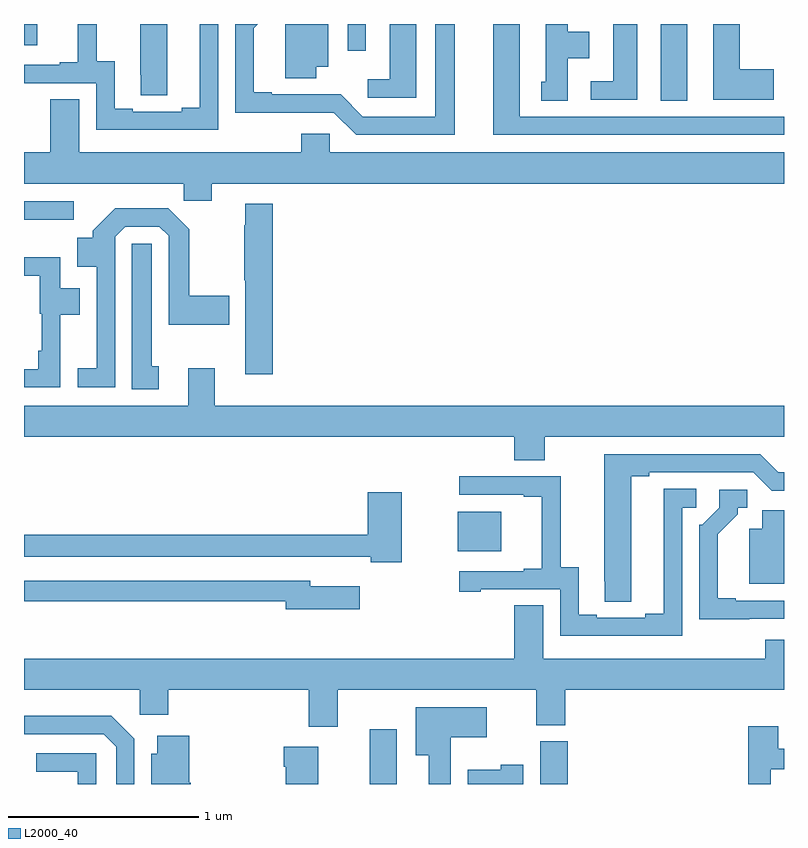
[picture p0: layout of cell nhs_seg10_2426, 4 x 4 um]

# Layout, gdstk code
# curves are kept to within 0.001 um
import gdstk
lib = gdstk.Library(unit=1e-6, precision=1e-09)
def R(c, l, rs):  # rectangles x0, y0, x1, y1
    for r in rs: c.add(gdstk.rectangle(r[:2], r[2:], *l))
def P(c, l, *ps):  # polygons
    for p in ps: c.add(gdstk.Polygon(p, *l))
L2000_40 = (2000, 40)

nhs_seg10_2426 = lib.new_cell('nhs_seg10_2426')
R(nhs_seg10_2426, L2000_40, [(242.819,1286.5,242.962,1286.788), (243.716,1286.5,243.863,1286.724), (243.284,1287.725,243.511,1287.934), (241,1289.471,241.261,1289.568), (244.352,1290.097,244.492,1290.5), (242.703,1290.36,242.799,1290.5), (241,1290.389,241.069,1290.5)])
P(nhs_seg10_2426, L2000_40, [(242.022,1290.5),(241.925,1290.5),(241.925,1290.059),(241.829,1290.059),(241.829,1290.039),(241.573,1290.039),(241.573,1290.054),(241.477,1290.054),(241.477,1290.305),(241.383,1290.305),(241.383,1290.5),(241.283,1290.5),(241.283,1290.298),(241.187,1290.298),(241.187,1290.285),(241,1290.285),(241,1290.189),(241.38,1290.189),(241.38,1289.943),(242.022,1289.943)],
  [(242.539,1290.275),(242.602,1290.275),(242.602,1290.5),(242.375,1290.5),(242.375,1290.214),(242.539,1290.214)],
  [(245,1290.012),(243.61,1290.012),(243.61,1290.5),(243.47,1290.5),(243.47,1289.916),(245,1289.916)],
  [(244.228,1290.5),(244.1,1290.5),(244.1,1290.198),(243.984,1290.198),(243.984,1290.102),(244.228,1290.102)],
  [(243.268,1290.5),(243.164,1290.5),(243.164,1290.012),(242.784,1290.012),(242.666,1290.13),(242.305,1290.129),(242.305,1290.142),(242.209,1290.142),(242.209,1290.478),(242.231,1290.5),(242.112,1290.5),(242.112,1290.032),(242.631,1290.033),(242.748,1289.916),(243.268,1289.916)],
  [(241.753,1290.5),(241.613,1290.5),(241.613,1290.232),(241.614,1290.232),(241.614,1290.124),(241.753,1290.124)],
  [(243.862,1290.32),(243.976,1290.32),(243.976,1290.46),(243.862,1290.46),(243.862,1290.5),(243.746,1290.5),(243.746,1290.195),(243.722,1290.195),(243.722,1290.097),(243.862,1290.097)],
  [(244.945,1290.261),(244.768,1290.261),(244.768,1290.5),(244.628,1290.5),(244.628,1290.101),(244.945,1290.101)],
  [(243.064,1290.5),(242.924,1290.5),(242.924,1290.208),(242.808,1290.208),(242.808,1290.111),(243.064,1290.111)],
  [(241.987,1289.66),(245,1289.66),(245,1289.824),(242.61,1289.824),(242.61,1289.922),(242.459,1289.922),(242.459,1289.824),(241.291,1289.824),(241.291,1290.104),(241.139,1290.104),(241.139,1289.824),(241,1289.824),(241,1289.66),(241.84,1289.66),(241.84,1289.57),(241.987,1289.57)],
  [(242.309,1289.554),(242.165,1289.554),(242.165,1289.441),(242.158,1289.441),(242.158,1289.152),(242.165,1289.152),(242.165,1288.656),(242.309,1288.656)],
  [(241.479,1289.379),(241.533,1289.433),(241.713,1289.433),(241.761,1289.385),(241.761,1288.916),(242.08,1288.916),(242.08,1289.069),(241.87,1289.069),(241.87,1289.42),(241.76,1289.53),(241.48,1289.53),(241.363,1289.413),(241.363,1289.374),(241.28,1289.374),(241.28,1289.222),(241.383,1289.222),(241.383,1288.688),(241.284,1288.688),(241.284,1288.587),(241.479,1288.587)],
  [(241.708,1288.698),(241.672,1288.698),(241.672,1289.343),(241.568,1289.343),(241.568,1288.578),(241.708,1288.578)],
  [(241.191,1288.97),(241.294,1288.97),(241.294,1289.11),(241.191,1289.11),(241.191,1289.273),(241,1289.273),(241,1289.174),(241.083,1289.174),(241.083,1288.974),(241.094,1288.974),(241.094,1288.78),(241.075,1288.78),(241.075,1288.684),(241,1288.684),(241,1288.587),(241.191,1288.587)],
  [(243.741,1288.328),(245,1288.328),(245,1288.492),(242.005,1288.492),(242.005,1288.687),(241.865,1288.687),(241.865,1288.492),(241,1288.492),(241,1288.328),(243.581,1288.328),(243.581,1288.204),(243.741,1288.204)],
  [(244.195,1288.12),(244.291,1288.12),(244.291,1288.14),(244.839,1288.14),(244.935,1288.044),(245,1288.044),(245,1288.14),(244.971,1288.14),(244.875,1288.236),(244.055,1288.236),(244.056,1287.46),(244.195,1287.46)],
  [(244.464,1287.954),(244.537,1287.954),(244.537,1288.055),(244.367,1288.055),(244.367,1287.395),(244.271,1287.395),(244.271,1287.375),(244.015,1287.375),(244.015,1287.39),(243.919,1287.39),(243.919,1287.641),(243.825,1287.641),(243.825,1288.119),(243.291,1288.119),(243.291,1288.023),(243.629,1288.023),(243.629,1288.011),(243.725,1288.011),(243.725,1287.634),(243.629,1287.634),(243.629,1287.621),(243.291,1287.621),(243.291,1287.513),(243.403,1287.513),(243.403,1287.525),(243.822,1287.525),(243.822,1287.279),(244.464,1287.279)],
  [(244.817,1287.369),(245,1287.369),(245,1287.465),(244.747,1287.465),(244.747,1287.478),(244.651,1287.478),(244.651,1287.814),(244.756,1287.919),(244.756,1287.954),(244.806,1287.954),(244.806,1288.05),(244.659,1288.05),(244.659,1287.954),(244.569,1287.864),(244.554,1287.864),(244.554,1287.368)],
  [(242.988,1288.036),(242.81,1288.036),(242.81,1287.812),(241,1287.812),(241,1287.696),(242.602,1287.696),(242.602,1287.695),(242.826,1287.695),(242.826,1287.668),(242.988,1287.668)],
  [(245,1287.942),(244.886,1287.942),(244.886,1287.844),(244.817,1287.844),(244.817,1287.554),(245,1287.554)],
  [(242.767,1287.541),(242.506,1287.541),(242.506,1287.57),(241,1287.57),(241,1287.462),(242.378,1287.462),(242.378,1287.419),(242.767,1287.419)],
  [(242.65,1286.996),(243.695,1286.996),(243.695,1286.809),(243.848,1286.809),(243.848,1286.996),(245,1286.996),(245,1287.258),(244.901,1287.258),(244.901,1287.16),(243.733,1287.16),(243.733,1287.44),(243.581,1287.44),(243.581,1287.16),(241,1287.16),(241,1286.996),(241.608,1286.996),(241.608,1286.865),(241.76,1286.865),(241.76,1286.996),(242.498,1286.996),(242.498,1286.802),(242.65,1286.802)],
  [(243.247,1286.747),(243.436,1286.747),(243.436,1286.905),(243.062,1286.905),(243.062,1286.651),(243.131,1286.651),(243.131,1286.5),(243.247,1286.5)],
  [(241.581,1286.739),(241.46,1286.86),(241,1286.86),(241,1286.763),(241.419,1286.763),(241.485,1286.697),(241.485,1286.5),(241.581,1286.5)],
  [(244.929,1286.577),(245,1286.577),(245,1286.686),(244.969,1286.686),(244.969,1286.803),(244.813,1286.803),(244.813,1286.5),(244.929,1286.5)],
  [(241.877,1286.506),(241.871,1286.506),(241.871,1286.755),(241.7,1286.755),(241.7,1286.659),(241.67,1286.659),(241.67,1286.5),(241.877,1286.5)],
  [(242.548,1286.695),(242.366,1286.695),(242.366,1286.591),(242.378,1286.591),(242.378,1286.5),(242.548,1286.5)],
  [(241.38,1286.661),(241.065,1286.661),(241.065,1286.565),(241.284,1286.565),(241.284,1286.5),(241.38,1286.5)],
  [(243.628,1286.602),(243.51,1286.602),(243.51,1286.575),(243.335,1286.575),(243.335,1286.5),(243.628,1286.5)])

lib.write_gds('nhs_seg10_2426.gds')
